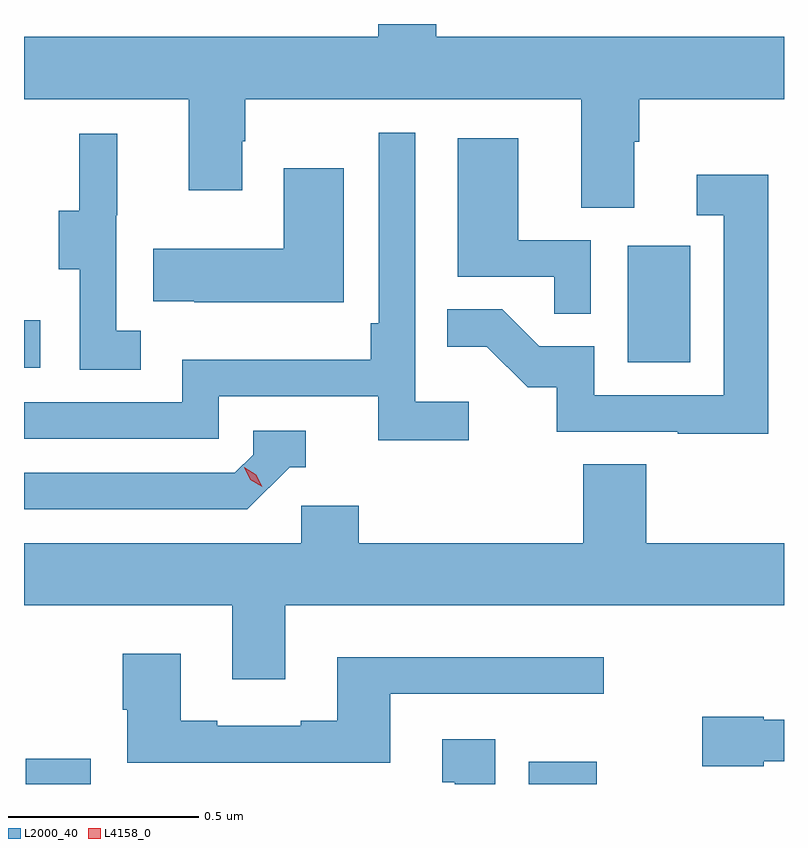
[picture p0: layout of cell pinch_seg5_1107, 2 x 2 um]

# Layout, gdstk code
import gdstk
lib = gdstk.Library(unit=1e-6, precision=1e-09)
def R(c, l, rs):  # rectangles x0, y0, x1, y1
    for r in rs: c.add(gdstk.rectangle(r[:2], r[2:], *l))
def P(c, l, *ps):  # polygons
    for p in ps: c.add(gdstk.Polygon(p, *l))
L2000_40 = (2000, 40)
L4158_0 = (4158, 0)

pinch_seg5_1107 = lib.new_cell('pinch_seg5_1107')
R(pinch_seg5_1107, L2000_40, [(880.838,865.614,881.008,865.681), (882.161,865.614,882.34,865.672), (880.833,866.709,880.876,866.834), (882.422,866.724,882.586,867.031)])
P(pinch_seg5_1107, L2000_40, [(882.439,867.304),(882.452,867.304),(882.452,867.416),(882.833,867.416),(882.833,867.58),(881.918,867.58),(881.918,867.614),(881.765,867.614),(881.765,867.58),(880.833,867.58),(880.833,867.416),(881.267,867.416),(881.267,867.177),(881.407,867.177),(881.407,867.305),(881.415,867.305),(881.415,867.416),(882.299,867.416),(882.299,867.13),(882.439,867.13)],
  [(882.004,866.62),(881.862,866.62),(881.862,867.328),(881.766,867.328),(881.766,866.827),(881.746,866.827),(881.746,866.731),(881.25,866.731),(881.25,866.619),(880.833,866.619),(880.833,866.523),(881.346,866.523),(881.346,866.634),(881.765,866.634),(881.765,866.518),(882.004,866.518)],
  [(881.14,866.807),(881.076,866.807),(881.076,867.111),(881.078,867.111),(881.078,867.325),(880.979,867.325),(880.979,867.123),(880.925,867.123),(880.925,866.968),(880.98,866.968),(880.98,866.704),(881.14,866.704)],
  [(882.324,867.045),(882.133,867.045),(882.133,867.313),(881.975,867.313),(881.975,866.949),(882.229,866.949),(882.229,866.851),(882.324,866.851)],
  [(881.674,867.235),(881.516,867.235),(881.516,867.022),(881.173,867.022),(881.173,866.885),(881.281,866.885),(881.281,866.882),(881.674,866.882)],
  [(882.791,867.217),(882.603,867.217),(882.603,867.111),(882.675,867.111),(882.675,866.637),(882.333,866.637),(882.333,866.766),(882.189,866.766),(882.091,866.864),(881.947,866.864),(881.947,866.765),(882.051,866.765),(882.158,866.658),(882.235,866.658),(882.235,866.541),(882.553,866.541),(882.553,866.536),(882.791,866.536)],
  [(881.532,866.448),(881.575,866.448),(881.575,866.544),(881.436,866.544),(881.436,866.481),(881.388,866.433),(880.833,866.433),(880.833,866.337),(881.421,866.337)],
  [(881.521,866.084),(882.833,866.084),(882.833,866.248),(882.47,866.248),(882.47,866.456),(882.305,866.456),(882.305,866.248),(881.714,866.248),(881.714,866.346),(881.562,866.346),(881.562,866.248),(880.833,866.248),(880.833,866.084),(881.381,866.084),(881.381,865.89),(881.521,865.89)],
  [(881.797,865.851),(882.358,865.851),(882.358,865.948),(881.657,865.948),(881.657,865.78),(881.561,865.78),(881.561,865.767),(881.341,865.767),(881.341,865.78),(881.245,865.78),(881.245,865.957),(881.093,865.957),(881.093,865.809),(881.105,865.809),(881.105,865.67),(881.797,865.67)],
  [(882.78,865.674),(882.833,865.674),(882.833,865.783),(882.78,865.783),(882.78,865.791),(882.618,865.791),(882.618,865.661),(882.78,865.661)],
  [(882.073,865.732),(881.933,865.732),(881.933,865.619),(881.966,865.619),(881.966,865.614),(882.073,865.614)])
P(pinch_seg5_1107, L4158_0, [(881.46,866.396),(881.429,866.415),(881.413,866.448),(881.413,866.448),(881.413,866.448),(881.444,866.428),(881.46,866.396),(881.46,866.396)])

lib.write_gds('pinch_seg5_1107.gds')
